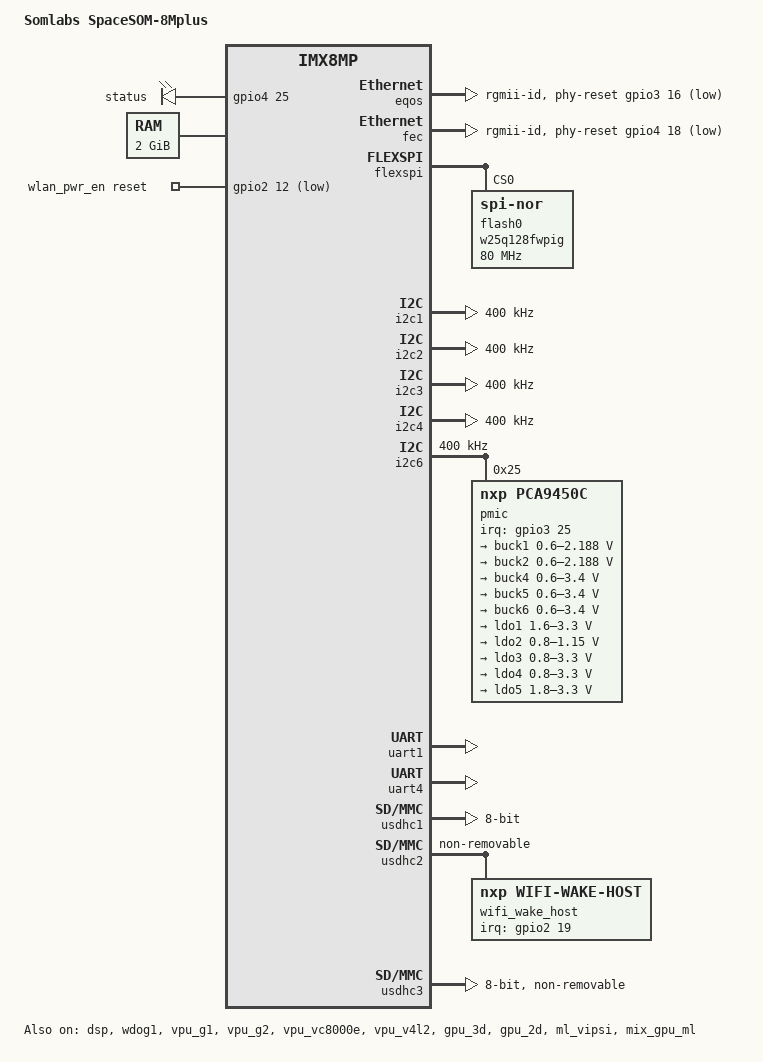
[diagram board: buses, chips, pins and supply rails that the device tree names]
// SPDX-License-Identifier: (GPL-2.0+ OR MIT)
/*
 * Copyright 2022 Somlabs
 */

/dts-v1/;

#include <dt-bindings/usb/pd.h>
#include "imx8mp.dtsi"

/ {
        model = "Somlabs SpaceSOM-8Mplus";
        compatible = "somlabs,spacesom-8mplus", "fsl,imx8mp";

        chosen {
                stdout-path = &uart4;
        };

        leds {      /* dedicated led for system status */
                compatible = "gpio-leds";
                pinctrl-names = "default";
                pinctrl-0 = <&pinctrl_gpio_led>;

                status {
                        label = "status";
                        gpios = <&gpio4 25 0>;
                        linux,default-trigger = "heartbeat";
                };
        };

        memory@40000000 {
                device_type = "memory";
                reg = <0x0 0x40000000 0 0x80000000>;
        };

        wlan_pwr_en: wlan_pwr_en {
                compatible = "mmc-pwrseq-simple";
                reset-gpios = <&gpio2 12 GPIO_ACTIVE_LOW>;
        };
};

&{/reserved-memory/linux,cma} {
        alloc-ranges = <0 0x40000000 0 0x60000000>;
        size = <0 0x28000000>;
};

&A53_0 {
        cpu-supply = <&buck2>;
};

&A53_1 {
        cpu-supply = <&buck2>;
};

&A53_2 {
        cpu-supply = <&buck2>;
};

&A53_3 {
        cpu-supply = <&buck2>;
};

&dsp {
        status = "okay";
};

&ecspi1 {
        #address-cells = <1>;
        #size-cells = <0>;
        fsl,spi-num-chipselects = <1>;
        pinctrl-names = "default";
        pinctrl-0 = <&pinctrl_ecspi1 &pinctrl_ecspi1_cs>;
        cs-gpios = <&gpio5 9 GPIO_ACTIVE_LOW>;
};

&ecspi2 {
        #address-cells = <1>;
        #size-cells = <0>;
        fsl,spi-num-chipselects = <1>;
        pinctrl-names = "default";
        pinctrl-0 = <&pinctrl_ecspi2 &pinctrl_ecspi2_cs>;
        cs-gpios = <&gpio5 13 GPIO_ACTIVE_LOW>;
};

&eqos {
        pinctrl-names = "default";
        pinctrl-0 = <&pinctrl_eqos>;
        phy-reset-gpios = <&gpio3 16 0>; /* GPIO3_16 */
        phy-reset-duration = <10>;
        phy-reset-post-delay = <50>;
        phy-int-gpios = <&gpio4 20 GPIO_ACTIVE_LOW>; /* GPIO4_20 */
        phy-mode = "rgmii-id";
};

&fec {
        pinctrl-names = "default";
        pinctrl-0 = <&pinctrl_fec>;
        phy-reset-gpios = <&gpio4 18 0>; /* GPIO4_18 */
        phy-reset-duration = <10>;
        phy-reset-post-delay = <50>;
        phy-int-gpios = <&gpio4 19 GPIO_ACTIVE_LOW>; /* GPIO4_19 */
        phy-mode = "rgmii-id";
        fsl,magic-packet;
};

&flexspi {
        pinctrl-names = "default";
        pinctrl-0 = <&pinctrl_flexspi0>;
        status = "okay";

        flash0: w25q128fwpig@0 {
                reg = <0>;
                #address-cells = <1>;
                #size-cells = <1>;
                compatible = "jedec,spi-nor";
                spi-max-frequency = <80000000>;
                spi-tx-bus-width = <1>;
                spi-rx-bus-width = <4>;
        };
};

&flexcan1 {
        pinctrl-names = "default";
        pinctrl-0 = <&pinctrl_flexcan1>;
};

&flexcan2 {
        pinctrl-names = "default";
        pinctrl-0 = <&pinctrl_flexcan2>;
};

&i2c1 {
        clock-frequency = <400000>;
        pinctrl-names = "default";
        pinctrl-0 = <&pinctrl_i2c1>;
};

&i2c2 {
        clock-frequency = <400000>;
        pinctrl-names = "default";
        pinctrl-0 = <&pinctrl_i2c2>;
};

&i2c3 {
        clock-frequency = <400000>;
        pinctrl-names = "default";
        pinctrl-0 = <&pinctrl_i2c3>;
};

&i2c4 {
        clock-frequency = <400000>;
        pinctrl-names = "default";
        pinctrl-0 = <&pinctrl_i2c4>;
};


&i2c6 {
        clock-frequency = <400000>;
        pinctrl-names = "default";
        pinctrl-0 = <&pinctrl_i2c6>;
        status = "okay";

        pmic: pca9450@25 {
                reg = <0x25>;
                compatible = "nxp,pca9450c";
                /* PMIC PCA9450 PMIC_nINT GPIO3_I25 */
                pinctrl-0 = <&pinctrl_pmic>;
                interrupt-parent = <&gpio3>;
                interrupts = <25 GPIO_ACTIVE_LOW>;

                regulators {
                        buck1: BUCK1 {
                                regulator-name = "BUCK1";
                                regulator-min-microvolt = <600000>;
                                regulator-max-microvolt = <2187500>;
                                regulator-boot-on;
                                regulator-always-on;
                                regulator-ramp-delay = <3125>;
                        };

                        buck2: BUCK2 {
                                regulator-name = "BUCK2";
                                regulator-min-microvolt = <600000>;
                                regulator-max-microvolt = <2187500>;
                                regulator-boot-on;
                                regulator-always-on;
                                regulator-ramp-delay = <3125>;
                                nxp,dvs-run-voltage = <950000>;
                                nxp,dvs-standby-voltage = <850000>;
                        };

                        buck4: BUCK4{
                                regulator-name = "BUCK4";
                                regulator-min-microvolt = <600000>;
                                regulator-max-microvolt = <3400000>;
                                regulator-boot-on;
                                regulator-always-on;
                        };

                        buck5: BUCK5{
                                regulator-name = "BUCK5";
                                regulator-min-microvolt = <600000>;
                                regulator-max-microvolt = <3400000>;
                                regulator-boot-on;
                                regulator-always-on;
                        };

                        buck6: BUCK6 {
                                regulator-name = "BUCK6";
                                regulator-min-microvolt = <600000>;
                                regulator-max-microvolt = <3400000>;
                                regulator-boot-on;
                                regulator-always-on;
                        };

                        ldo1: LDO1 {
                                regulator-name = "LDO1";
                                regulator-min-microvolt = <1600000>;
                                regulator-max-microvolt = <3300000>;
                                regulator-boot-on;
                                regulator-always-on;
                        };

                        ldo2: LDO2 {
                                regulator-name = "LDO2";
                                regulator-min-microvolt = <800000>;
                                regulator-max-microvolt = <1150000>;
                                regulator-boot-on;
                                regulator-always-on;
                        };

                        ldo3: LDO3 {
                                regulator-name = "LDO3";
                                regulator-min-microvolt = <800000>;
                                regulator-max-microvolt = <3300000>;
                                regulator-boot-on;
                                regulator-always-on;
                        };

                        ldo4: LDO4 {
                                regulator-name = "LDO4";
                                regulator-min-microvolt = <800000>;
                                regulator-max-microvolt = <3300000>;
                                regulator-boot-on;
                                regulator-always-on;
                        };

                        ldo5: LDO5 {
                                regulator-name = "LDO5";
                                regulator-min-microvolt = <1800000>;
                                regulator-max-microvolt = <3300000>;
                                regulator-boot-on;
                                regulator-always-on;
                        };
                };
        };
};

&pcie{
        clocks = <&clk IMX8MP_CLK_HSIO_ROOT>,
                 <&clk IMX8MP_CLK_PCIE_AUX>,
                 <&clk IMX8MP_CLK_HSIO_AXI>,
                 <&clk IMX8MP_CLK_PCIE_ROOT>;
        clock-names = "pcie", "pcie_aux", "pcie_phy", "pcie_bus";
        assigned-clocks = <&clk IMX8MP_CLK_HSIO_AXI>,
                          <&clk IMX8MP_CLK_PCIE_AUX>;
        assigned-clock-rates = <500000000>, <10000000>;
        assigned-clock-parents = <&clk IMX8MP_SYS_PLL2_500M>,
                                 <&clk IMX8MP_SYS_PLL2_50M>;
        l1ss-disabled;
};

&sai3 {
        pinctrl-names = "default";
        pinctrl-0 = <&pinctrl_sai3>;
};

&sdma2 {
        status = "okay";
};

&uart1 { /* BT */
        pinctrl-names = "default";
        pinctrl-0 = <&pinctrl_uart1>;
        assigned-clocks = <&clk IMX8MP_CLK_UART1>;
        assigned-clock-parents = <&clk IMX8MP_SYS_PLL1_80M>;
        fsl,uart-has-rtscts;
        status = "okay";
};

&uart2 {
        pinctrl-names = "default";
        pinctrl-0 = <&pinctrl_uart2>;
};

&uart3 {
        pinctrl-names = "default";
        pinctrl-0 = <&pinctrl_uart3>;
};

&uart4 {        /* console */
        pinctrl-names = "default";
        pinctrl-0 = <&pinctrl_uart4>;
        status = "okay";
};

&usdhc1 {
        // assigned-clocks = <&clk IMX8MP_CLK_USDHC1>;
        // assigned-clock-rates = <400000000>;
        pinctrl-names = "default", "state_100mhz", "state_200mhz";
        pinctrl-0 = <&pinctrl_usdhc1 &pinctrl_usdhc1_gpio>;
        pinctrl-1 = <&pinctrl_usdhc1_100mhz &pinctrl_usdhc1_gpio>;
        pinctrl-2 = <&pinctrl_usdhc1_200mhz &pinctrl_usdhc1_gpio>;
        bus-width = <8>;
};

&usdhc2 {       /* WLAN */
        pinctrl-names = "default", "state_100mhz", "state_200mhz";
        pinctrl-0 = <&pinctrl_usdhc2 &pinctrl_usdhc2_gpio>;
        pinctrl-1 = <&pinctrl_usdhc2_100mhz &pinctrl_usdhc2_gpio>;
        pinctrl-2 = <&pinctrl_usdhc2_200mhz &pinctrl_usdhc2_gpio>;
        keep-power-in-suspend;
        non-removable;
        wakeup-source;
        mmc-pwrseq = <&wlan_pwr_en>;
        fsl,sdio-interrupt-enabled;
        wifi-host;
        status = "okay";

        wifi_wake_host {
                compatible = "nxp,wifi-wake-host";
                interrupt-parent = <&gpio2>;
                interrupts = <19 IRQ_TYPE_LEVEL_LOW>;
                interrupt-names = "host-wake";
        };
};

&usdhc3 {       /* eMMC on SOM */
        assigned-clocks = <&clk IMX8MP_CLK_USDHC3>;
        assigned-clock-rates = <400000000>;
        pinctrl-names = "default", "state_100mhz", "state_200mhz";
        pinctrl-0 = <&pinctrl_usdhc3>;
        pinctrl-1 = <&pinctrl_usdhc3_100mhz>;
        pinctrl-2 = <&pinctrl_usdhc3_200mhz>;
        bus-width = <8>;
        non-removable;
        status = "okay";
};

&wdog1 {
        pinctrl-names = "default";
        pinctrl-0 = <&pinctrl_wdog>;
        fsl,ext-reset-output;
        status = "okay";
};

&iomuxc {

        pinctrl_ecspi1: ecspi1grp {
                fsl,pins = <
                        MX8MP_IOMUXC_ECSPI1_SCLK__ECSPI1_SCLK           0x82
                        MX8MP_IOMUXC_ECSPI1_MOSI__ECSPI1_MOSI           0x82
                        MX8MP_IOMUXC_ECSPI1_MISO__ECSPI1_MISO           0x82
                >;
        };

        pinctrl_ecspi1_cs: ecspi1cs {
                fsl,pins = <
                        MX8MP_IOMUXC_ECSPI1_SS0__GPIO5_IO09             0x40000
                >;
        };

        pinctrl_ecspi2: ecspi2grp {
                fsl,pins = <
                        MX8MP_IOMUXC_ECSPI2_SCLK__ECSPI2_SCLK           0x82
                        MX8MP_IOMUXC_ECSPI2_MOSI__ECSPI2_MOSI           0x82
                        MX8MP_IOMUXC_ECSPI2_MISO__ECSPI2_MISO           0x82
                >;
        };

        pinctrl_ecspi2_cs: ecspi2cs {
                fsl,pins = <
                        MX8MP_IOMUXC_ECSPI2_SS0__GPIO5_IO13             0x40000
                >;
        };

        pinctrl_eqos: eqosgrp {
                fsl,pins = <
                        //MX8MP_IOMUXC_ENET_MDC__ENET_QOS_MDC                             0x3
                        //MX8MP_IOMUXC_ENET_MDIO__ENET_QOS_MDIO                           0x3
                        MX8MP_IOMUXC_ENET_RD0__ENET_QOS_RGMII_RD0                       0x91
                        MX8MP_IOMUXC_ENET_RD1__ENET_QOS_RGMII_RD1                       0x91
                        MX8MP_IOMUXC_ENET_RD2__ENET_QOS_RGMII_RD2                       0x91
                        MX8MP_IOMUXC_ENET_RD3__ENET_QOS_RGMII_RD3                       0x91
                        MX8MP_IOMUXC_ENET_RXC__CCM_ENET_QOS_CLOCK_GENERATE_RX_CLK       0x91
                        MX8MP_IOMUXC_ENET_RX_CTL__ENET_QOS_RGMII_RX_CTL                 0x91
                        MX8MP_IOMUXC_ENET_TD0__ENET_QOS_RGMII_TD0                       0x1f
                        MX8MP_IOMUXC_ENET_TD1__ENET_QOS_RGMII_TD1                       0x1f
                        MX8MP_IOMUXC_ENET_TD2__ENET_QOS_RGMII_TD2                       0x1f
                        MX8MP_IOMUXC_ENET_TD3__ENET_QOS_RGMII_TD3                       0x1f
                        MX8MP_IOMUXC_ENET_TX_CTL__ENET_QOS_RGMII_TX_CTL                 0x1f
                        MX8MP_IOMUXC_ENET_TXC__CCM_ENET_QOS_CLOCK_GENERATE_TX_CLK       0x1f
                        MX8MP_IOMUXC_NAND_READY_B__GPIO3_IO16                           0x39    /* phy reset */
                        MX8MP_IOMUXC_SAI1_MCLK__GPIO4_IO20                              0x41    /* phy int */
                >;
        };

        pinctrl_eqos_mdio_gpio: eqosgrp_mdio {
                fsl,pins = <
                        MX8MP_IOMUXC_ENET_MDC__GPIO1_IO16                               0x6
                        MX8MP_IOMUXC_ENET_MDIO__GPIO1_IO17                              0x1f6
                >;
        };

        pinctrl_fec: fecgrp {
                fsl,pins = <
                        MX8MP_IOMUXC_SAI1_RXD2__ENET1_MDC               0x3
                        MX8MP_IOMUXC_SAI1_RXD3__ENET1_MDIO              0x3
                        MX8MP_IOMUXC_SAI1_RXD4__ENET1_RGMII_RD0         0x91
                        MX8MP_IOMUXC_SAI1_RXD5__ENET1_RGMII_RD1         0x91
                        MX8MP_IOMUXC_SAI1_RXD6__ENET1_RGMII_RD2         0x91
                        MX8MP_IOMUXC_SAI1_RXD7__ENET1_RGMII_RD3         0x91
                        MX8MP_IOMUXC_SAI1_TXC__ENET1_RGMII_RXC          0x91
                        MX8MP_IOMUXC_SAI1_TXFS__ENET1_RGMII_RX_CTL      0x91
                        MX8MP_IOMUXC_SAI1_TXD0__ENET1_RGMII_TD0         0x1f
                        MX8MP_IOMUXC_SAI1_TXD1__ENET1_RGMII_TD1         0x1f
                        MX8MP_IOMUXC_SAI1_TXD2__ENET1_RGMII_TD2         0x1f
                        MX8MP_IOMUXC_SAI1_TXD3__ENET1_RGMII_TD3         0x1f
                        MX8MP_IOMUXC_SAI1_TXD4__ENET1_RGMII_TX_CTL      0x1f
                        MX8MP_IOMUXC_SAI1_TXD5__ENET1_RGMII_TXC         0x1f
                        MX8MP_IOMUXC_SAI1_TXD6__GPIO4_IO18              0x39    /* phy reset */
                        MX8MP_IOMUXC_SAI1_TXD7__GPIO4_IO19              0x41    /* phy int */
                >;
        };

        pinctrl_fec_1588: fec1588grp {
                fsl,pins = <
                        MX8MP_IOMUXC_SAI1_RXFS__ENET1_1588_EVENT0_IN    0x91
                        MX8MP_IOMUXC_SAI1_RXC__ENET1_1588_EVENT0_OUT    0x1f
                        MX8MP_IOMUXC_SAI1_RXD0__ENET1_1588_EVENT1_IN    0x91
                        MX8MP_IOMUXC_SAI1_RXD1__ENET1_1588_EVENT1_OUT   0x1f
                >;
        };

        pinctrl_flexcan1: flexcan1grp {
                fsl,pins = <
                        MX8MP_IOMUXC_SPDIF_RX__CAN1_RX                  0x154
                        MX8MP_IOMUXC_SPDIF_TX__CAN1_TX                  0x154
                >;
        };

        pinctrl_flexcan2: flexcan2grp {
                fsl,pins = <
                        MX8MP_IOMUXC_SAI2_MCLK__CAN2_RX                 0x154
                        MX8MP_IOMUXC_SAI2_TXD0__CAN2_TX                 0x154
                >;
        };

        pinctrl_flexspi0: flexspi0grp {
                fsl,pins = <
                        MX8MP_IOMUXC_NAND_ALE__FLEXSPI_A_SCLK           0x1c2
                        MX8MP_IOMUXC_NAND_CE0_B__FLEXSPI_A_SS0_B        0x82
                        MX8MP_IOMUXC_NAND_DATA00__FLEXSPI_A_DATA00      0x82
                        MX8MP_IOMUXC_NAND_DATA01__FLEXSPI_A_DATA01      0x82
                        MX8MP_IOMUXC_NAND_DATA02__FLEXSPI_A_DATA02      0x82
                        MX8MP_IOMUXC_NAND_DATA03__FLEXSPI_A_DATA03      0x82
                >;
        };

        pinctrl_gpio_led: gpioledgrp {
                fsl,pins = <
                        MX8MP_IOMUXC_SAI2_TXC__GPIO4_IO25               0x19
                >;
        };

        pinctrl_i2c1: i2c1grp {
                fsl,pins = <
                        MX8MP_IOMUXC_I2C1_SCL__I2C1_SCL                 0x400001c2
                        MX8MP_IOMUXC_I2C1_SDA__I2C1_SDA                 0x400001c2
                >;
        };

        pinctrl_i2c2: i2c2grp {
                fsl,pins = <
                        MX8MP_IOMUXC_I2C2_SCL__I2C2_SCL                 0x400001c2
                        MX8MP_IOMUXC_I2C2_SDA__I2C2_SDA                 0x400001c2
                >;
        };

        pinctrl_i2c3: i2c3grp {
                fsl,pins = <
                        MX8MP_IOMUXC_I2C3_SCL__I2C3_SCL                 0x400001c2
                        MX8MP_IOMUXC_I2C3_SDA__I2C3_SDA                 0x400001c2
                >;
        };

        pinctrl_i2c4: i2c4grp {
                fsl,pins = <
                        MX8MP_IOMUXC_I2C4_SCL__I2C4_SCL                 0x400001c2
                        MX8MP_IOMUXC_I2C4_SDA__I2C4_SDA                 0x400001c2
                >;
        };

        pinctrl_i2c6: i2c6grp {
                fsl,pins = <
                        MX8MP_IOMUXC_SAI5_RXFS__I2C6_SCL                0x400001c2
                        MX8MP_IOMUXC_SAI5_RXC__I2C6_SDA                 0x400001c2
                >;
        };

        pinctrl_pmic: pmicirq {
                fsl,pins = <
                        MX8MP_IOMUXC_SAI5_MCLK__GPIO3_IO25              0x41
                >;
        };

        pinctrl_sai3: sai3grp {
                fsl,pins = <
                        MX8MP_IOMUXC_SAI3_TXFS__AUDIOMIX_SAI3_TX_SYNC   0xd6
                        MX8MP_IOMUXC_SAI3_TXC__AUDIOMIX_SAI3_TX_BCLK    0xd6
                        MX8MP_IOMUXC_SAI3_RXD__AUDIOMIX_SAI3_RX_DATA00  0xd6
                        MX8MP_IOMUXC_SAI3_TXD__AUDIOMIX_SAI3_TX_DATA00  0xd6
                        MX8MP_IOMUXC_SAI3_MCLK__AUDIOMIX_SAI3_MCLK      0xd6
                        MX8MP_IOMUXC_SAI3_RXFS__AUDIOMIX_SAI3_RX_SYNC   0xd6
                        MX8MP_IOMUXC_SAI3_RXC__AUDIOMIX_SAI3_RX_BCLK    0xd6
                >;
        };

        pinctrl_uart1: uart1grp {
                fsl,pins = <
                        MX8MP_IOMUXC_SAI2_RXFS__UART1_DTE_RX            0x140
                        MX8MP_IOMUXC_SAI2_RXC__UART1_DTE_TX             0x140
                        MX8MP_IOMUXC_SAI2_RXD0__UART1_DTE_CTS           0x140
                        MX8MP_IOMUXC_SAI2_TXFS__UART1_DTE_RTS           0x140
                >;
        };

        pinctrl_uart2: uart2grp {
                fsl,pins = <
                        MX8MP_IOMUXC_UART2_RXD__UART2_DCE_RX            0x49
                        MX8MP_IOMUXC_UART2_TXD__UART2_DCE_TX            0x49
                >;
        };

        pinctrl_uart3: uart3grp {
                fsl,pins = <
                        MX8MP_IOMUXC_UART3_RXD__UART3_DCE_RX            0x140
                        MX8MP_IOMUXC_UART3_TXD__UART3_DCE_TX            0x140
                >;
        };

        pinctrl_uart4: uart4grp {
                fsl,pins = <
                        MX8MP_IOMUXC_UART4_RXD__UART4_DCE_RX            0x140
                        MX8MP_IOMUXC_UART4_TXD__UART4_DCE_TX            0x140
                >;
        };

        pinctrl_usdhc1_gpio: usdhc1gpiogrp {
                fsl,pins = <
                        MX8MP_IOMUXC_SD1_RESET_B__GPIO2_IO10            0x1c4
                >;
        };

        pinctrl_usdhc1: usdhc1grp {
                fsl,pins = <
                        MX8MP_IOMUXC_SD1_CLK__USDHC1_CLK                0x190
                        MX8MP_IOMUXC_SD1_CMD__USDHC1_CMD                0x1d0
                        MX8MP_IOMUXC_SD1_DATA0__USDHC1_DATA0            0x1d0
                        MX8MP_IOMUXC_SD1_DATA1__USDHC1_DATA1            0x1d0
                        MX8MP_IOMUXC_SD1_DATA2__USDHC1_DATA2            0x1d0
                        MX8MP_IOMUXC_SD1_DATA3__USDHC1_DATA3            0x1d0
                        MX8MP_IOMUXC_SD1_DATA4__USDHC1_DATA4            0x1d0
                        MX8MP_IOMUXC_SD1_DATA5__USDHC1_DATA5            0x1d0
                        MX8MP_IOMUXC_SD1_DATA6__USDHC1_DATA6            0x1d0
                        MX8MP_IOMUXC_SD1_DATA7__USDHC1_DATA7            0x1d0
                        MX8MP_IOMUXC_SD1_STROBE__USDHC1_STROBE          0x190
                >;
        };

        pinctrl_usdhc1_100mhz: usdhc1-100mhzgrp {
                fsl,pins = <
                        MX8MP_IOMUXC_SD1_CLK__USDHC1_CLK                0x194
                        MX8MP_IOMUXC_SD1_CMD__USDHC1_CMD                0x1d4
                        MX8MP_IOMUXC_SD1_DATA0__USDHC1_DATA0            0x1d4
                        MX8MP_IOMUXC_SD1_DATA1__USDHC1_DATA1            0x1d4
                        MX8MP_IOMUXC_SD1_DATA2__USDHC1_DATA2            0x1d4
                        MX8MP_IOMUXC_SD1_DATA3__USDHC1_DATA3            0x1d4
                        MX8MP_IOMUXC_SD1_DATA4__USDHC1_DATA4            0x1d4
                        MX8MP_IOMUXC_SD1_DATA5__USDHC1_DATA5            0x1d4
                        MX8MP_IOMUXC_SD1_DATA6__USDHC1_DATA6            0x1d4
                        MX8MP_IOMUXC_SD1_DATA7__USDHC1_DATA7            0x1d4
                        MX8MP_IOMUXC_SD1_STROBE__USDHC1_STROBE          0x194
                >;
        };

        pinctrl_usdhc1_200mhz: usdhc1-200mhzgrp {
                fsl,pins = <
                        MX8MP_IOMUXC_SD1_CLK__USDHC1_CLK                0x196
                        MX8MP_IOMUXC_SD1_CMD__USDHC1_CMD                0x1d6
                        MX8MP_IOMUXC_SD1_DATA0__USDHC1_DATA0            0x1d6
                        MX8MP_IOMUXC_SD1_DATA1__USDHC1_DATA1            0x1d6
                        MX8MP_IOMUXC_SD1_DATA2__USDHC1_DATA2            0x1d6
                        MX8MP_IOMUXC_SD1_DATA3__USDHC1_DATA3            0x1d6
                        MX8MP_IOMUXC_SD1_DATA4__USDHC1_DATA4            0x1d6
                        MX8MP_IOMUXC_SD1_DATA5__USDHC1_DATA5            0x1d6
                        MX8MP_IOMUXC_SD1_DATA6__USDHC1_DATA6            0x1d6
                        MX8MP_IOMUXC_SD1_DATA7__USDHC1_DATA7            0x1d6
                        MX8MP_IOMUXC_SD1_STROBE__USDHC1_STROBE          0x196
                >;
        };

        pinctrl_usdhc2_gpio: usdhc2gpiogrp {
                fsl,pins = <
                        MX8MP_IOMUXC_SD2_CD_B__GPIO2_IO12               0x19
                        MX8MP_IOMUXC_SD2_RESET_B__GPIO2_IO19            0x1c4
                >;
        };

        pinctrl_usdhc2: usdhc2grp {
                fsl,pins = <
                        MX8MP_IOMUXC_SD2_CLK__USDHC2_CLK                0x190
                        MX8MP_IOMUXC_SD2_CMD__USDHC2_CMD                0x1d0
                        MX8MP_IOMUXC_SD2_DATA0__USDHC2_DATA0            0x1d0
                        MX8MP_IOMUXC_SD2_DATA1__USDHC2_DATA1            0x1d0
                        MX8MP_IOMUXC_SD2_DATA2__USDHC2_DATA2            0x1d0
                        MX8MP_IOMUXC_SD2_DATA3__USDHC2_DATA3            0x1d0
                >;
        };

        pinctrl_usdhc2_100mhz: usdhc2-100mhzgrp {
                fsl,pins = <
                        MX8MP_IOMUXC_SD2_CLK__USDHC2_CLK                0x194
                        MX8MP_IOMUXC_SD2_CMD__USDHC2_CMD                0x1d4
                        MX8MP_IOMUXC_SD2_DATA0__USDHC2_DATA0            0x1d4
                        MX8MP_IOMUXC_SD2_DATA1__USDHC2_DATA1            0x1d4
                        MX8MP_IOMUXC_SD2_DATA2__USDHC2_DATA2            0x1d4
                        MX8MP_IOMUXC_SD2_DATA3__USDHC2_DATA3            0x1d4
                >;
        };

        pinctrl_usdhc2_200mhz: usdhc2-200mhzgrp {
                fsl,pins = <
                        MX8MP_IOMUXC_SD2_CLK__USDHC2_CLK                0x196
                        MX8MP_IOMUXC_SD2_CMD__USDHC2_CMD                0x1d6
                        MX8MP_IOMUXC_SD2_DATA0__USDHC2_DATA0            0x1d6
                        MX8MP_IOMUXC_SD2_DATA1__USDHC2_DATA1            0x1d6
                        MX8MP_IOMUXC_SD2_DATA2__USDHC2_DATA2            0x1d6
                        MX8MP_IOMUXC_SD2_DATA3__USDHC2_DATA3            0x1d6
                >;
        };

        pinctrl_usdhc3: usdhc3grp {
                fsl,pins = <
                        MX8MP_IOMUXC_NAND_WE_B__USDHC3_CLK              0x190
                        MX8MP_IOMUXC_NAND_WP_B__USDHC3_CMD              0x1d0
                        MX8MP_IOMUXC_NAND_DATA04__USDHC3_DATA0          0x1d0
                        MX8MP_IOMUXC_NAND_DATA05__USDHC3_DATA1          0x1d0
                        MX8MP_IOMUXC_NAND_DATA06__USDHC3_DATA2          0x1d0
                        MX8MP_IOMUXC_NAND_DATA07__USDHC3_DATA3          0x1d0
                        MX8MP_IOMUXC_NAND_RE_B__USDHC3_DATA4            0x1d0
                        MX8MP_IOMUXC_NAND_CE2_B__USDHC3_DATA5           0x1d0
                        MX8MP_IOMUXC_NAND_CE3_B__USDHC3_DATA6           0x1d0
                        MX8MP_IOMUXC_NAND_CLE__USDHC3_DATA7             0x1d0
                        MX8MP_IOMUXC_NAND_CE1_B__USDHC3_STROBE          0x190
                >;
        };

        pinctrl_usdhc3_100mhz: usdhc3-100mhzgrp {
                fsl,pins = <
                        MX8MP_IOMUXC_NAND_WE_B__USDHC3_CLK              0x194
                        MX8MP_IOMUXC_NAND_WP_B__USDHC3_CMD              0x1d4
                        MX8MP_IOMUXC_NAND_DATA04__USDHC3_DATA0          0x1d4
                        MX8MP_IOMUXC_NAND_DATA05__USDHC3_DATA1          0x1d4
                        MX8MP_IOMUXC_NAND_DATA06__USDHC3_DATA2          0x1d4
                        MX8MP_IOMUXC_NAND_DATA07__USDHC3_DATA3          0x1d4
                        MX8MP_IOMUXC_NAND_RE_B__USDHC3_DATA4            0x1d4
                        MX8MP_IOMUXC_NAND_CE2_B__USDHC3_DATA5           0x1d4
                        MX8MP_IOMUXC_NAND_CE3_B__USDHC3_DATA6           0x1d4
                        MX8MP_IOMUXC_NAND_CLE__USDHC3_DATA7             0x1d4
                        MX8MP_IOMUXC_NAND_CE1_B__USDHC3_STROBE          0x194
                >;
        };

        pinctrl_usdhc3_200mhz: usdhc3-200mhzgrp {
                fsl,pins = <
                        MX8MP_IOMUXC_NAND_WE_B__USDHC3_CLK              0x196
                        MX8MP_IOMUXC_NAND_WP_B__USDHC3_CMD              0x1d6
                        MX8MP_IOMUXC_NAND_DATA04__USDHC3_DATA0          0x1d6
                        MX8MP_IOMUXC_NAND_DATA05__USDHC3_DATA1          0x1d6
                        MX8MP_IOMUXC_NAND_DATA06__USDHC3_DATA2          0x1d6
                        MX8MP_IOMUXC_NAND_DATA07__USDHC3_DATA3          0x1d6
                        MX8MP_IOMUXC_NAND_RE_B__USDHC3_DATA4            0x1d6
                        MX8MP_IOMUXC_NAND_CE2_B__USDHC3_DATA5           0x1d6
                        MX8MP_IOMUXC_NAND_CE3_B__USDHC3_DATA6           0x1d6
                        MX8MP_IOMUXC_NAND_CLE__USDHC3_DATA7             0x1d6
                        MX8MP_IOMUXC_NAND_CE1_B__USDHC3_STROBE          0x196
                >;
        };

        pinctrl_wdog: wdoggrp {
                fsl,pins = <
                        MX8MP_IOMUXC_GPIO1_IO02__WDOG1_WDOG_B           0xc6
                >;
        };

        pinctrl_usb0_vbus: usb0grp {
                fsl,pins = <
                        MX8MP_IOMUXC_GPIO1_IO12__USB1_PWR               0x19
                >;
        };

        pinctrl_usb1_vbus: usb1grp {
                fsl,pins = <
                        MX8MP_IOMUXC_GPIO1_IO14__USB2_PWR               0x19
                >;
        };

        pinctrl_flexspi0: flexspi0grp {
                fsl,pins = <
                        MX8MP_IOMUXC_NAND_ALE__FLEXSPI_A_SCLK           0x1c4
                        MX8MP_IOMUXC_NAND_CE0_B__FLEXSPI_A_SS0_B        0x84
                        MX8MP_IOMUXC_NAND_DATA00__FLEXSPI_A_DATA00      0x84
                        MX8MP_IOMUXC_NAND_DATA01__FLEXSPI_A_DATA01      0x84
                        MX8MP_IOMUXC_NAND_DATA02__FLEXSPI_A_DATA02      0x84
                        MX8MP_IOMUXC_NAND_DATA03__FLEXSPI_A_DATA03      0x84
                >;
        };
};

&vpu_g1 {
        status = "okay";
};

&vpu_g2 {
        status = "okay";
};

&vpu_vc8000e {
        status = "okay";
};

&vpu_v4l2 {
        status = "okay";
};

&gpu_3d {
        status = "okay";
};

&gpu_2d {
        status = "okay";
};

&ml_vipsi {
        status = "okay";
};

&mix_gpu_ml {
        status = "okay";
};

&mipi_csi_0 {
        #address-cells = <1>;
        #size-cells = <0>;
        status = "disabled";
};

&mipi_csi_1 {
        #address-cells = <1>;
        #size-cells = <0>;
        status = "disabled";
};

&flexspi {
        pinctrl-names = "default";
        pinctrl-0 = <&pinctrl_flexspi0>;
        status = "okay";

        flash0: w25q128fwpig@0 {
                reg = <0>;
                #address-cells = <1>;
                #size-cells = <1>;
                compatible = "jedec,spi-nor";
                spi-max-frequency = <80000000>;
                spi-tx-bus-width = <1>;
                spi-rx-bus-width = <4>;
        };
};
